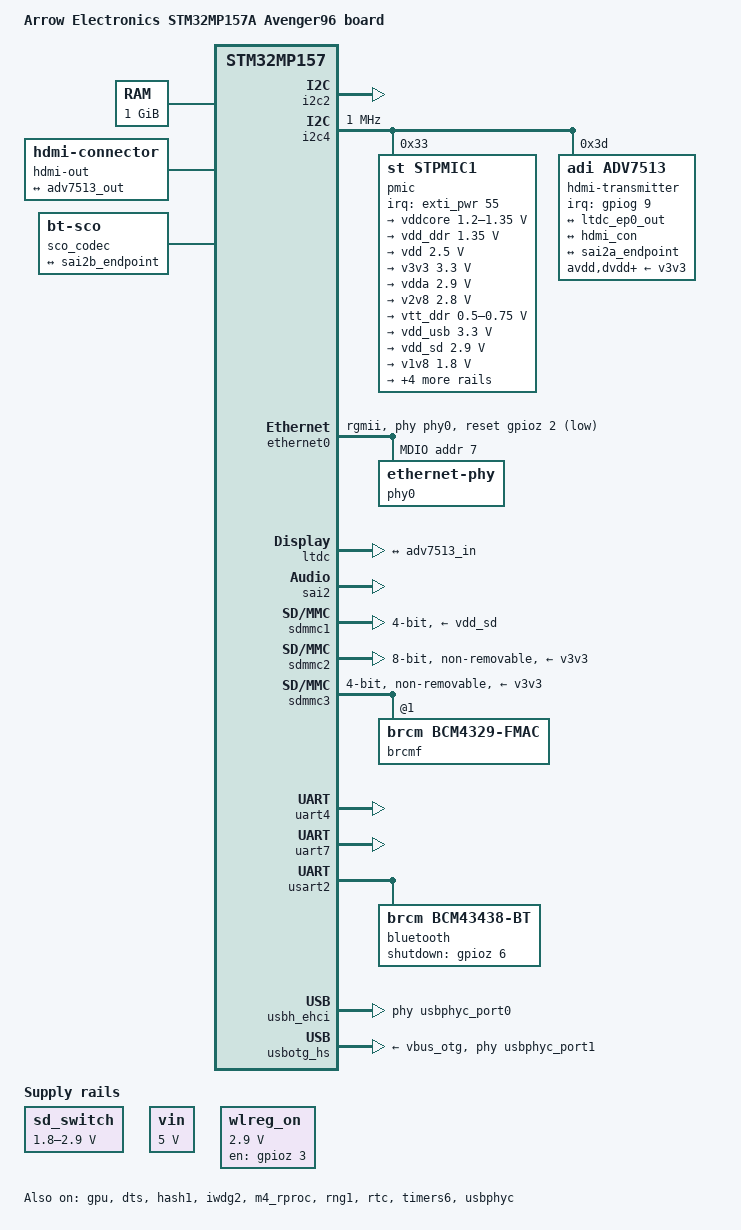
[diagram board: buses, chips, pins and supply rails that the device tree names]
// SPDX-License-Identifier: (GPL-2.0+ OR BSD-3-Clause)
/*
 * Copyright (C) Arrow Electronics 2020 - All Rights Reserved
 * Author: Botond Kardos <botond.kardos@arroweurope.com>
 */
/dts-v1/;

#include "stm32mp157.dtsi"
#include "stm32mp15xa.dtsi"
#include "stm32mp157a-av96-pinctrl.dtsi"
#include "stm32mp15xxaa-pinctrl.dtsi"
#include "stm32mp157-m4-srm.dtsi"
#include "stm32mp157-m4-srm-pinctrl.dtsi"

#include <dt-bindings/input/input.h>
#include <dt-bindings/soc/stm32-hdp.h>
#include <dt-bindings/gpio/gpio.h>
#include <dt-bindings/mfd/st,stpmic1.h>

/ {
	model = "Arrow Electronics STM32MP157A Avenger96 board";
	compatible = "st,stm32mp157a-av96", "st,stm32mp157c-ed1", "st,stm32mp157";

	chosen {
		stdout-path = "serial0:115200n8";
	};

	aliases {
		serial0 = &uart4;
		serial1 = &usart2;
		serial2 = &uart7;
		ethernet0 = &ethernet0;
		mmc0 = &sdmmc1;
		mmc1 = &sdmmc2;
		mmc2 = &sdmmc3;
	};

	memory@c0000000 {
		device_type = "memory";
		reg = <0xC0000000 0x40000000>;
	};

	reserved-memory {
		#address-cells = <1>;
		#size-cells = <1>;
		ranges;

		mcuram2: mcuram2@10000000 {
			compatible = "shared-dma-pool";
			reg = <0x10000000 0x40000>;
			no-map;
		};

		vdev0vring0: vdev0vring0@10040000 {
			compatible = "shared-dma-pool";
			reg = <0x10040000 0x1000>;
			no-map;
		};

		vdev0vring1: vdev0vring1@10041000 {
			compatible = "shared-dma-pool";
			reg = <0x10041000 0x1000>;
			no-map;
		};

		vdev0buffer: vdev0buffer@10042000 {
			compatible = "shared-dma-pool";
			reg = <0x10042000 0x4000>;
			no-map;
		};

		mcuram: mcuram@30000000 {
			compatible = "shared-dma-pool";
			reg = <0x30000000 0x40000>;
			no-map;
		};

		retram: retram@38000000 {
			compatible = "shared-dma-pool";
			reg = <0x38000000 0x10000>;
			no-map;
		};

		gpu_reserved: gpu@f6000000 {
			reg = <0xf6000000 0x8000000>;
			no-map;
		};
	};

	sd_switch: regulator-sd_switch {
		compatible = "regulator-gpio";
		regulator-name = "sd_switch";
		regulator-min-microvolt = <1800000>;
		regulator-max-microvolt = <2900000>;
		regulator-type = "voltage";
		regulator-always-on;

		gpios = <&gpioi 5 GPIO_ACTIVE_HIGH>;
		gpios-states = <0>;
		states = <1800000 0x1 2900000 0x0>;
	};

	vin: vin {
		compatible = "regulator-fixed";
		regulator-name = "vin";
		regulator-min-microvolt = <5000000>;
		regulator-max-microvolt = <5000000>;
		regulator-always-on;
	};

	wlreg_on: fixedregulator@1 {
		compatible = "regulator-fixed";
		regulator-name = "wlreg_on";
		regulator-min-microvolt = <2900000>;
		regulator-max-microvolt = <2900000>;

		gpio = <&gpioz 3 GPIO_ACTIVE_HIGH>;
		enable-active-high;
	};

	hdmi-out {
		compatible = "hdmi-connector";
		type = "a";

		port {
			hdmi_con: endpoint {
				remote-endpoint = <&adv7513_out>;
			};
		};
	};

	sco_codec: bt_sco {
		compatible = "linux,bt-sco";
		status = "okay";

		ports {
			#address-cells = <1>;
			#size-cells = <0>;

			bt_rx_port: port@1 {
				bt_rx_endpoint: endpoint {
					remote-endpoint = <&sai2b_endpoint>;
					dai-format = "i2s";
				};
			};
		};
	};

	sound {
		compatible = "audio-graph-card";
		label = "STM32MP1-AV96";
		routing =
			"Playback" , "MCLK",
			"Capture" , "MCLK",
			"MICL" , "Mic Bias";
		dais = <&sai2a_port &sai2b_port>;
		status = "okay";
	};

	usb_phy_tuning: usb-phy-tuning {
		st,hs-dc-level = <2>;
		st,fs-rftime-tuning;
		st,hs-rftime-reduction;
		st,hs-current-trim = <15>;
		st,hs-impedance-trim = <1>;
		st,squelch-level = <3>;
		st,hs-rx-offset = <2>;
		st,no-lsfs-sc;
	};
};

&cpu1{
	cpu-supply = <&vddcore>;
};

&gpu {
	contiguous-area = <&gpu_reserved>;
	status = "okay";
};

&dma1 {
	sram = <&dma_pool>;
};

&dma2 {
	sram = <&dma_pool>;
};

&dts {
	status = "okay";
};

&hash1 {
	status = "okay";
};

&i2c2 {
	pinctrl-names = "default", "sleep";
	pinctrl-0 = <&i2c2_pins_a>;
	pinctrl-1 = <&i2c2_pins_sleep_a>;
	i2c-scl-rising-time-ns = <185>;
	i2c-scl-falling-time-ns = <20>;
	status = "okay";
	/delete-property/dmas;
	/delete-property/dma-names;
};

&i2c4 {
	pinctrl-names = "default", "sleep";
	pinctrl-0 = <&i2c4_pins_a>;
	pinctrl-1 = <&i2c4_pins_sleep_a>;
	i2c-scl-rising-time-ns = <185>;
	i2c-scl-falling-time-ns = <20>;
	clock-frequency = <1000000>;
	status = "okay";
	/* spare dmas for other usage */
	/delete-property/dmas;
	/delete-property/dma-names;

	pmic: stpmic@33 {
		compatible = "st,stpmic1";
		reg = <0x33>;
		interrupts-extended = <&exti_pwr 55 IRQ_TYPE_EDGE_FALLING>;
		interrupt-controller;
		#interrupt-cells = <2>;
		status = "okay";

		regulators {
			compatible = "st,stpmic1-regulators";
			buck1-supply = <&vin>;
			buck2-supply = <&vin>;
			buck3-supply = <&vin>;
			buck4-supply = <&vin>;

			ldo1-supply = <&v3v3>;
			ldo2-supply = <&v3v3>;
			ldo3-supply = <&vdd_ddr>;
			ldo4-supply = <&vin>;
			ldo5-supply = <&v3v3>;
			ldo6-supply = <&v3v3>;

			vref_ddr-supply = <&vin>;
			boost-supply = <&vin>;
			pwr_sw1-supply = <&bst_out>;
			pwr_sw2-supply = <&bst_out>;

			vddcore: buck1 {
				regulator-name = "vddcore";
				regulator-min-microvolt = <1200000>;
				regulator-max-microvolt = <1350000>;
				regulator-always-on;
				regulator-initial-mode = <0>;
				regulator-over-current-protection;
			};

			vdd_ddr: buck2 {
				regulator-name = "vdd_ddr";
				regulator-min-microvolt = <1350000>;
				regulator-max-microvolt = <1350000>;
				regulator-always-on;
				regulator-initial-mode = <0>;
				regulator-over-current-protection;
			};

			vdd: buck3 {
				regulator-name = "vdd";
				regulator-min-microvolt = <2500000>;
				regulator-max-microvolt = <2500000>;
				regulator-always-on;
				st,mask-reset;
				regulator-initial-mode = <0>;
				regulator-over-current-protection;
			};

			v3v3: buck4 {
				regulator-name = "v3v3";
				regulator-min-microvolt = <3300000>;
				regulator-max-microvolt = <3300000>;
				regulator-always-on;
				regulator-over-current-protection;
				regulator-initial-mode = <0>;
			};

			vdda: ldo1 {
				regulator-name = "vdda";
				regulator-min-microvolt = <2900000>;
				regulator-max-microvolt = <2900000>;
				interrupts = <IT_CURLIM_LDO1 0>;
			};

			v2v8: ldo2 {
				regulator-name = "v2v8";
				regulator-min-microvolt = <2800000>;
				regulator-max-microvolt = <2800000>;
				interrupts = <IT_CURLIM_LDO2 0>;
			};

			vtt_ddr: ldo3 {
				regulator-name = "vtt_ddr";
				regulator-min-microvolt = <500000>;
				regulator-max-microvolt = <750000>;
				regulator-always-on;
				regulator-over-current-protection;
			};

			vdd_usb: ldo4 {
				regulator-name = "vdd_usb";
				regulator-min-microvolt = <3300000>;
				regulator-max-microvolt = <3300000>;
				interrupts = <IT_CURLIM_LDO4 0>;
				regulator-always-on;
			};

			vdd_sd: ldo5 {
				regulator-name = "vdd_sd";
				regulator-min-microvolt = <2900000>;
				regulator-max-microvolt = <2900000>;
				interrupts = <IT_CURLIM_LDO5 0>;
				regulator-boot-on;
			};

			v1v8: ldo6 {
				regulator-name = "v1v8";
				regulator-min-microvolt = <1800000>;
				regulator-max-microvolt = <1800000>;
				interrupts = <IT_CURLIM_LDO6 0>;
			};

			vref_ddr: vref_ddr {
				regulator-name = "vref_ddr";
				regulator-always-on;
				regulator-over-current-protection;
			};

			bst_out: boost {
				regulator-name = "bst_out";
				interrupts = <IT_OCP_BOOST 0>;
			};

			vbus_otg: pwr_sw1 {
				regulator-name = "vbus_otg";
				interrupts = <IT_OCP_OTG 0>;
			 };

			 vbus_sw: pwr_sw2 {
				regulator-name = "vbus_sw";
				interrupts = <IT_OCP_SWOUT 0>;
				regulator-active-discharge = <1>;
			 };
		};

		onkey {
			compatible = "st,stpmic1-onkey";
			interrupts = <IT_PONKEY_F 0>, <IT_PONKEY_R 0>;
			interrupt-names = "onkey-falling", "onkey-rising";
			power-off-time-sec = <10>;
			status = "okay";
		};

		watchdog {
			compatible = "st,stpmic1-wdt";
			status = "disabled";
		};
	};

	hdmi-transmitter@3d {
		compatible = "adi,adv7513";
		reg = <0x3d>;

		avdd-supply = <&v3v3>;
		dvdd-supply = <&v3v3>;
		pvdd-supply = <&v3v3>;
		dvdd-3v-supply = <&v3v3>;
		bgvdd-supply = <&v3v3>;

		interrupts = <9 IRQ_TYPE_EDGE_FALLING>;
		interrupt-parent = <&gpiog>;

		pinctrl-names = "default", "sleep";
		pinctrl-0 = <&ltdc_pins_a>;
		pinctrl-1 = <&ltdc_pins_sleep_a>;
		status = "okay";

		adi,input-depth = <8>;
		adi,input-colorspace = "rgb";
		adi,input-clock = "1x";
		adi,input-style = <1>;
		adi,input-justification = "evenly";

		ports {
			#address-cells = <1>;
			#size-cells = <0>;

			port@0 {
				reg = <0>;
				adv7513_in: endpoint {
					remote-endpoint = <&ltdc_ep0_out>;
				};
			};

			port@1 {
				reg = <1>;
				adv7513_out: endpoint {
					remote-endpoint = <&hdmi_con>;
				};
			};

			port@2 {
				reg = <2>;
				adv7513_i2s0: endpoint {
					remote-endpoint = <&sai2a_endpoint>;
				};
			};
		};
	};
};

&ethernet0 {
	status = "okay";
	pinctrl-0 = <&ethernet0_rgmii_pins_a>;
	pinctrl-1 = <&ethernet0_rgmii_pins_sleep_a>;
	pinctrl-names = "default", "sleep";
	phy-mode = "rgmii";
	max-speed = <1000>;
	phy-handle = <&phy0>;

	/* phy reset config */
	snps,reset-gpio = <&gpioz 2 GPIO_ACTIVE_LOW>;
	snps,reset-active-low;
	snps,reset-delays-us = <0 2 0>;

	mdio0 {
		#address-cells = <1>;
		#size-cells = <0>;
		compatible = "snps,dwmac-mdio";
		phy0: ethernet-phy@7 {
			reg = <7>;

			rxc-skew-ps = <1500>;
			rxdv-skew-ps = <540>;
			rxd0-skew-ps = <420>;
			rxd1-skew-ps = <420>;
			rxd2-skew-ps = <420>;
			rxd3-skew-ps = <420>;

			txc-skew-ps = <1440>;
			txen-skew-ps = <540>;
			txd0-skew-ps = <420>;
			txd1-skew-ps = <420>;
			txd2-skew-ps = <420>;
			txd3-skew-ps = <420>;
		};
	};
};

&ltdc {
	status = "okay";

	port {
		#address-cells = <1>;
		#size-cells = <0>;

		ltdc_ep0_out: endpoint@0 {
			reg = <0>;
			remote-endpoint = <&adv7513_in>;
		};
	};
};

&sai2 {
	clocks = <&rcc SAI2>, <&rcc PLL3_Q>, <&rcc PLL3_R>;
	pinctrl-names = "default", "sleep";
	pinctrl-0 = <&sai2a_pins_a>, <&sai2b_pins_b>;
	pinctrl-1 = <&sai2a_sleep_pins_a>, <&sai2b_sleep_pins_b>;
	clock-names = "pclk", "x8k", "x11k";
	status = "okay";

	sai2a: audio-controller@4400b004 {
		#clock-cells = <0>;
		dma-names = "tx";
		clocks = <&rcc SAI2_K>;
		clock-names = "sai_ck";
		status = "okay";

		sai2a_port: port {
			sai2a_endpoint: endpoint {
				remote-endpoint = <&adv7513_i2s0>;
				format = "i2s";
				mclk-fs = <256>;
			};
		};
	};

	sai2b: audio-controller@4400b024 {
		dma-names = "rx";
		clocks = <&rcc SAI2_K>, <&sai2a>;
		clock-names = "sai_ck", "MCLK";
		status = "okay";

		sai2b_port: port {
			sai2b_endpoint: endpoint {
				remote-endpoint = <&bt_rx_endpoint>;
				format = "i2s";
				mclk-fs = <256>;
			};
		};
	};
};

&ipcc {
	status = "okay";
};

&iwdg2 {
	timeout-sec = <32>;
	status = "okay";
};

&m4_rproc {
	memory-region = <&retram>, <&mcuram>, <&mcuram2>, <&vdev0vring0>,
			<&vdev0vring1>, <&vdev0buffer>;
	mboxes = <&ipcc 0>, <&ipcc 1>, <&ipcc 2>;
	mbox-names = "vq0", "vq1", "shutdown";
	interrupt-parent = <&exti>;
	interrupts = <68 1>;
	wakeup-source;
	status = "okay";
};

&pwr_regulators {
	vdd-supply = <&vdd>;
	vdd_3v3_usbfs-supply = <&vdd_usb>;
};

&rng1 {
	status = "okay";
};

&rtc {
	status = "okay";
};

&sdmmc1 {
	pinctrl-names = "default", "opendrain", "sleep";
	pinctrl-0 = <&sdmmc1_b4_pins_a &sdmmc1_dir_pins_a>;
	pinctrl-1 = <&sdmmc1_b4_od_pins_a &sdmmc1_dir_pins_a>;
	pinctrl-2 = <&sdmmc1_b4_sleep_pins_a &sdmmc1_dir_sleep_pins_a>;
	broken-cd;
	st,sig-dir;
	st,neg-edge;
	st,use-ckin;
	bus-width = <4>;
	vmmc-supply = <&vdd_sd>;
	vqmmc-supply = <&sd_switch>;
	sd-uhs-sdr12;
	sd-uhs-sdr25;
	sd-uhs-sdr50;
	sd-uhs-ddr50;
	sd-uhs-sdr104;
	status = "okay";
};

&sdmmc2 {
	pinctrl-names = "default", "opendrain", "sleep";
	pinctrl-0 = <&sdmmc2_b4_pins_a &sdmmc2_d47_pins_a>;
	pinctrl-1 = <&sdmmc2_b4_od_pins_a &sdmmc2_d47_pins_a>;
	pinctrl-2 = <&sdmmc2_b4_sleep_pins_a &sdmmc2_d47_sleep_pins_a>;
	non-removable;
	no-sd;
	no-sdio;
	st,neg-edge;
	bus-width = <8>;
	vmmc-supply = <&v3v3>;
	vqmmc-supply = <&v3v3>;
	mmc-ddr-3_3v;
	status = "okay";
};

&sdmmc3 {
	arm,primecell-periphid = <0x10153180>;
	pinctrl-names = "default", "opendrain", "sleep";
	pinctrl-0 = <&sdmmc3_b4_pins_a>;
	pinctrl-1 = <&sdmmc3_b4_od_pins_a>;
	pinctrl-2 = <&sdmmc3_b4_sleep_pins_a>;
	non-removable;
	bus-width = <4>;
	vmmc-supply = <&v3v3>;
	vqmmc-supply = <&wlreg_on>;
	status = "okay";

	brcmf: bcrmf@1 {
		reg = <1>;
		compatible = "brcm,bcm4329-fmac";
	};
};

&sram {
	dma_pool: dma_pool@0 {
		reg = <0x50000 0x10000>;
		pool;
	};
};

&timers6 {
	status = "okay";
	/* spare dmas for other usage */
	/delete-property/dmas;
	/delete-property/dma-names;
	timer@5 {
		status = "okay";
	};
};

&uart4 {
	pinctrl-names = "default", "sleep", "idle";
	pinctrl-0 = <&uart4_pins_a>;
	pinctrl-1 = <&uart4_sleep_pins_a>;
	pinctrl-2 = <&uart4_idle_pins_a>;
	pinctrl-3 = <&uart4_pins_a>;
	/delete-property/dmas;
	/delete-property/dma-names;
	status = "okay";
};

&uart7 {
	pinctrl-names = "default", "sleep", "idle";
	pinctrl-0 = <&uart7_pins_a>;
	pinctrl-1 = <&uart7_sleep_pins_a>;
	pinctrl-2 = <&uart7_idle_pins_a>;
	uart-has-rtscts;
	status = "okay";
};

/* Bluetooth */
&usart2 {
	pinctrl-names = "default", "sleep", "idle";
	pinctrl-0 = <&usart2_pins_a>;
	pinctrl-1 = <&usart2_sleep_pins_a>;
	pinctrl-2 = <&usart2_idle_pins_a>;
	uart-has-rtscts;
	status = "okay";

	bluetooth {
		compatible = "brcm,bcm43438-bt";
		max-speed = <3000000>;
		shutdown-gpios = <&gpioz 6 GPIO_ACTIVE_HIGH>;
	};
};

&spi1 {
	pinctrl-names = "default", "sleep";
	pinctrl-0 = <&spi1_pins_a>;
	pinctrl-1 = <&spi1_sleep_pins_a>;
	status = "disabled";
};

&usbh_ehci {
	phys = <&usbphyc_port0>;
	status = "okay";
};

&usbotg_hs {
	vbus-supply = <&vbus_otg>;
	pinctrl-names = "default";
	pinctrl-0 = <&usbotg_hs_pins_a>;
	phys = <&usbphyc_port1 0>;
	phy-names = "usb2-phy";
	status = "okay";
};

&usbphyc {
	status = "okay";
};

&usbphyc_port0 {
	phy-supply = <&vdd_usb>;
	st,phy-tuning = <&usb_phy_tuning>;
};

&usbphyc_port1 {
	phy-supply = <&vdd_usb>;
	st,phy-tuning = <&usb_phy_tuning>;
};

&m4_rproc {
	m4_system_resources {
		compatible = "rproc-srm-core";
		status = "okay";

		m4_led: m4_led {
			compatible = "rproc-srm-dev";
			pinctrl-names = "rproc_default", "rproc_sleep";
			pinctrl-0 = <&leds_led3_pins>;
			pinctrl-1 = <&leds_led3_sleep_pins>;
			status = "okay";
		};
	};
};
